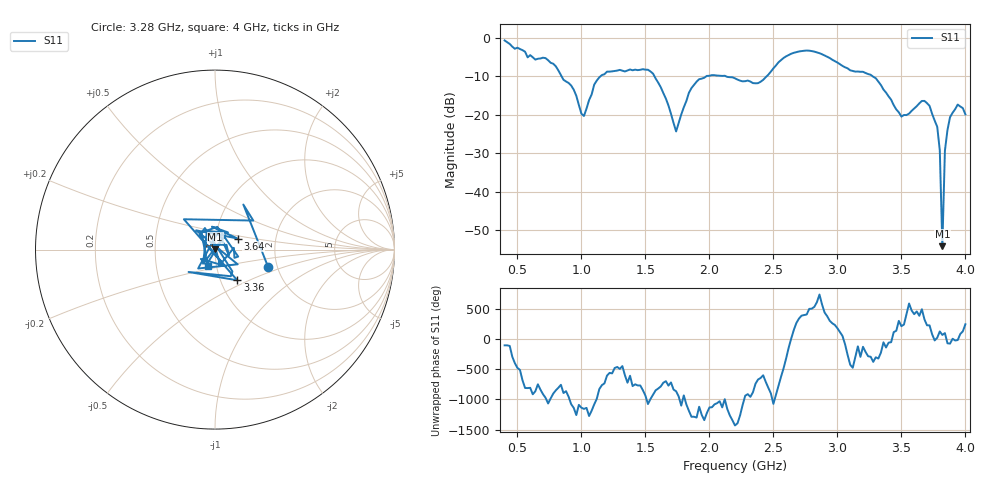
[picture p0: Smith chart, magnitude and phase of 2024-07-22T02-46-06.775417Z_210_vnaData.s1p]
!Created with skrf (http://scikit-rf.org).
# Hz S RI R 50.0
!freq ReS11 ImS11
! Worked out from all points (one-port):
!   181 points, 400 MHz to 4 GHz, reference 50 ohm
!   lowest |S11| = -54.1 dB at 3.82 GHz (marker M1), VSWR 1.00, Z = 50.1 + j0.183 ohm
!   |S11| at or under -10 dB: 1.57 GHz to 1.978 GHz (408.4 MHz wide, 23 % of centre); 2.125 GHz to 2.449 GHz (324.1 MHz wide, 14.2 % of centre); 3.273 GHz to end of sweep (the widest 3 of 4)
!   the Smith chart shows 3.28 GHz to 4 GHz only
!   S11 on the Smith chart (normalised r, x): 3.28 GHz: 1.79, -0.38; 3.36 GHz: 1.20, -0.43; 3.64 GHz: 1.28, +0.16; 4 GHz: 0.91, -0.17
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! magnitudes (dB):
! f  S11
! 400 MHz  -0.8
! 720 MHz  -5.3
! 860 MHz  -11.0
! 1.02 GHz  -20.4
! 1.12 GHz  -11.2
! 1.3 GHz  -8.4
! 1.56 GHz  -9.4
! 1.74 GHz  -24.4
! 1.76 GHz  -22.2
! 1.84 GHz  -14.3
! 1.92 GHz  -10.8
! 2.2 GHz  -10.6
! 2.38 GHz  -11.8
! 2.66 GHz  -4.0
! 3.1 GHz  -8.5
! 3.28 GHz  -10.2
! 3.36 GHz  -13.5
! 3.5 GHz  -20.5
! 3.56 GHz  -19.7
! 3.64 GHz  -17.1
! 3.72 GHz  -17.7
! 3.78 GHz  -23.2
! 3.8 GHz  -29.3
! 3.82 GHz  -54.1
! 3.84 GHz  -29.4
! 3.86 GHz  -24.0
! 3.94 GHz  -17.4
! 4 GHz  -19.9
